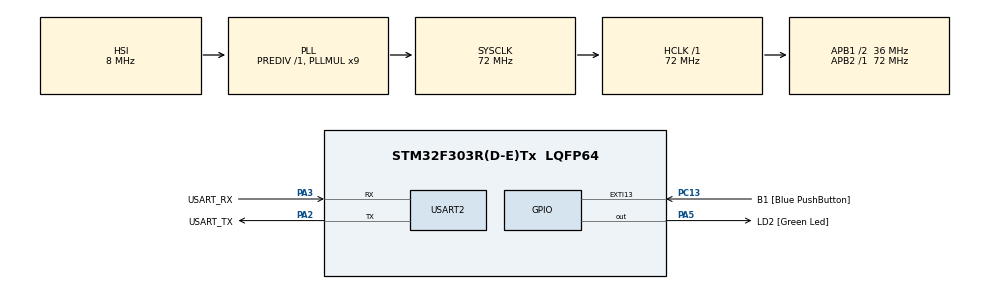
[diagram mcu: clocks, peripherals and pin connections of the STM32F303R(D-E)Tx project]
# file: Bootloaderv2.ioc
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Mcu.Family=STM32F3
Mcu.Name=STM32F303R(D-E)Tx
Mcu.Package=LQFP64
NVIC.PriorityGroup=NVIC_PRIORITYGROUP_0
NVIC.USART2_IRQn=true\:0\:0\:false\:false\:true\:true\:true\:true
PA13.GPIO_Label=TMS
PA13.Mode=Serial_Wire
PA13.Signal=SYS_JTMS-SWDIO
PA14.GPIO_Label=TCK
PA14.Mode=Serial_Wire
PA14.Signal=SYS_JTCK-SWCLK
PA2.GPIO_Label=USART_TX
PA2.GPIO_Mode=GPIO_MODE_AF_PP
PA2.GPIO_PuPd=GPIO_NOPULL
PA2.GPIO_Speed=GPIO_SPEED_FREQ_LOW
PA2.Mode=Asynchronous
PA2.Signal=USART2_TX
PA3.GPIO_Label=USART_RX
PA3.GPIO_Mode=GPIO_MODE_AF_PP
PA3.GPIO_PuPd=GPIO_NOPULL
PA3.GPIO_Speed=GPIO_SPEED_FREQ_LOW
PA3.Mode=Asynchronous
PA3.Signal=USART2_RX
PA5.GPIO_Label=LD2 [Green Led]
PA5.GPIO_Mode=GPIO_MODE_OUTPUT_PP
PA5.GPIO_PuPd=GPIO_NOPULL
PA5.GPIO_Speed=GPIO_SPEED_FREQ_LOW
PA5.Signal=GPIO_Output
PB3.GPIO_Label=SWO
PB3.Signal=SYS_JTDO-TRACESWO
PC13.GPIO_Label=B1 [Blue PushButton]
PC13.GPIO_ModeDefaultEXTI=GPIO_MODE_IT_FALLING
PC13.Signal=GPXTI13
PC14-OSC32_IN.Mode=LSE-External-Oscillator
PC14-OSC32_IN.Signal=RCC_OSC32_IN
PC15-OSC32_OUT.Mode=LSE-External-Oscillator
PC15-OSC32_OUT.Signal=RCC_OSC32_OUT
PF0-OSC_IN.Mode=HSE-External-Clock-Source
PF0-OSC_IN.Signal=RCC_OSC_IN
PF1-OSC_OUT.Signal=RCC_OSC_OUT
ProjectManager.HeapSize=0x200
ProjectManager.StackSize=0x400
ProjectManager.TargetToolchain=STM32CubeIDE
RCC.AHBFreq_Value=72000000
RCC.APB1CLKDivider=RCC_HCLK_DIV2
RCC.APB1Freq_Value=36000000
RCC.APB1TimFreq_Value=72000000
RCC.APB2Freq_Value=72000000
RCC.APB2TimFreq_Value=72000000
RCC.CortexFreq_Value=72000000
RCC.HCLKFreq_Value=72000000
RCC.HSE_VALUE=8000000
RCC.HSI_VALUE=8000000
RCC.PLLM=8
RCC.PLLMUL=RCC_PLL_MUL9
RCC.PLLN=336
RCC.PLLP=RCC_PLLP_DIV4
RCC.PLLQ=7
RCC.RCC_PLLsource_Clock_Source_FROM_HSE=RCC_HSE_PREDIV_DIV2
RCC.SYSCLKFreq_VALUE=72000000
RCC.SYSCLKSourceVirtual=RCC_SYSCLKSOURCE_PLLCLK
RCC.USBFreq_Value=72000000
USART2.VirtualMode-Asynchronous=VM_ASYNC
board=NUCLEO-F303RE

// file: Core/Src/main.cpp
/* USER CODE BEGIN Header */
/**
  ******************************************************************************
  * @file           : main.c
  * @brief          : Main program body
  ******************************************************************************
  * @attention
  *
  * Copyright (c) 2022 STMicroelectronics.
  * All rights reserved.
  *
  * This software is licensed under terms that can be found in the LICENSE file
  * in the root directory of this software component.
  * If no LICENSE file comes with this software, it is provided AS-IS.
  *
  ******************************************************************************
  */
#define _MODULE_ADDR 0x00
#define _LOOP_NR 0x01
/* USER CODE END Header */
#include "main.h"
#include "usart.h"
#include "gpio.h"

/* USER CODE BEGIN Includes */
#include "../../Mods/RS485_E/M485_E.h"
#include "../../Mods/Flash_SSD/MFlash.h"
/* USER CODE END Includes */

/* USER CODE BEGIN PTD */
//#define PAGE 253
/* USER CODE END PTD */

/* USER CODE BEGIN PV */
uint8_t mTXBuf[2];
uint8_t mRXBuf[2];
/* USER CODE END PV */

void SystemClock_Config(void);

/* USER CODE BEGIN 0 */
volatile int gIsToJump=0;
volatile uint32_t gJumpAddress=0;

#define APP_ADDRESS (uint32_t)0x08010000
typedef void (*pFunction)(void);

//Funkcja do przeskoczenia z bootloadera do aplikacji użytkownika
void JumpToAddress(uint32_t addr) {
    //uint32_t JumpAddress = *(uint32_t *) (addr + 0x0004); //Definitions for jump
    //pFunction Jump = (pFunction) JumpAddress; //Definitions for jump
	pFunction Jump = (pFunction) addr; //Definitions for jump

    HAL_RCC_DeInit(); //Peripherials deinitialization
    HAL_DeInit();
    SysTick->CTRL = 0;	//SysTick Reset
    SysTick->LOAD = 0;	//SysTick Reset
    SysTick->VAL = 0; 	//SysTick Reset

    /* Ustawić offset tablicy wektorów przerwań (SCB→VTOR). */
    SCB->VTOR = addr;
    /*Ustawić wskaźnik stosu (odczytany z tablicy przerwań
    z adresu 0x0000 [względnego do początku programu aplikacji
     użytkownika]).*/
    __set_MSP(*(uint32_t *) addr);

    Jump(); //Jump to begin of the program -> start_of_program + 0x0004
}

void JumpToApplication() {
    JumpToAddress(APP_ADDRESS);
}

//----------------------------------------------------------------------------
void HAL_UART_TxCpltCallback( UART_HandleTypeDef *huart ){
  //__disable_irq();
  if( huart == g485E.mhUart   )  g485E.onIT_TX();
  //if( huart == gST7580.mhUart )  gST7580.onIT_TX();
 // __enable_irq();
 }//----------------------------------------------------------------------------

//----------------------------------------------------------------------------
void HAL_UART_RxCpltCallback(UART_HandleTypeDef *huart ) {
 // __disable_irq();
	//HAL_UART_Receive_IT( &huart2, mRXBuf, 1 );
  if( huart == g485E.mhUart   )  g485E.onIT_RX();
  //if( huart == gST7580.mhUart )  gST7580.onIT_RX();
//  __enable_irq();
 }//----------------------------------------------------------------------------
/* USER CODE END 0 */

int main(void)
{

  /* MCU Configuration--------------------------------------------------------*/

  /* Reset of all peripherals, Initializes the Flash interface and the Systick. */
  HAL_Init();

  /* Configure the system clock */
  SystemClock_Config();

  /* Initialize all configured peripherals */
  MX_GPIO_Init();
  MX_USART2_UART_Init();
  /* USER CODE BEGIN 2 */
  g485E.init( &huart2 );
//  MFlash::unlock();
//  MFlash::erasePage(PAGE);
//  MFlash::lock();
  /* USER CODE END 2 */

  /* Infinite loop */
  /* USER CODE BEGIN WHILE */
  __enable_irq();
  mTXBuf[0]=6;
  mTXBuf[1]=6;
  //HAL_UART_Receive_IT( &huart2, mRXBuf, 1 );
  while (1)
  {
//	  if(HAL_GPIO_ReadPin (GPIOC, GPIO_PIN_13)==0){
	  if(gIsToJump!=0){
		  //JumpToApplication();
		  JumpToAddress(gJumpAddress);
	  }
	  //iPB = HAL_GPIO_ReadPin(GPIOC, GPIO_PIN_13);
	  //int a = 0;

//	  uint32_t address = MFlash::calcAddr(PAGE,0);
//	  uint16_t retPage = MFlash::calcPage(address,0);
//	  uint16_t var = MFlash::read16(PAGE,0);
//	  buttonVal = HAL_GPIO_ReadPin(GPIOC, GPIO_PIN_13);
//	  if( !buttonVal ){
//		  if(var == 0xFFFF){
//			  MFlash::unlock();
//			  MFlash::write16(PAGE,0,0xABCD);
//			  MFlash::lock();
//		  }
//	  }
	  //HAL_UART_Transmit_IT( &huart2, mTXBuf,  1 );

	  //HAL_UART_Transmit (&huart2, data, sizeof (data), 10);

//	  HAL_Delay(1000);
    /* USER CODE END WHILE */

  }
}

void SystemClock_Config(void)
{
  RCC_OscInitTypeDef RCC_OscInitStruct = {0};
  RCC_ClkInitTypeDef RCC_ClkInitStruct = {0};
  RCC_PeriphCLKInitTypeDef PeriphClkInit = {0};

  /** Initializes the RCC Oscillators according to the specified parameters
  * in the RCC_OscInitTypeDef structure.
  */
  RCC_OscInitStruct.OscillatorType = RCC_OSCILLATORTYPE_HSI;
  RCC_OscInitStruct.HSIState = RCC_HSI_ON;
  RCC_OscInitStruct.HSICalibrationValue = RCC_HSICALIBRATION_DEFAULT;
  RCC_OscInitStruct.PLL.PLLState = RCC_PLL_ON;
  RCC_OscInitStruct.PLL.PLLSource = RCC_PLLSOURCE_HSI;
  RCC_OscInitStruct.PLL.PLLMUL = RCC_PLL_MUL9;
  RCC_OscInitStruct.PLL.PREDIV = RCC_PREDIV_DIV1;
  if (HAL_RCC_OscConfig(&RCC_OscInitStruct) != HAL_OK)
  {
    Error_Handler();
  }

  /** Initializes the CPU, AHB and APB buses clocks
  */
  RCC_ClkInitStruct.ClockType = RCC_CLOCKTYPE_HCLK|RCC_CLOCKTYPE_SYSCLK
                              |RCC_CLOCKTYPE_PCLK1|RCC_CLOCKTYPE_PCLK2;
  RCC_ClkInitStruct.SYSCLKSource = RCC_SYSCLKSOURCE_PLLCLK;
  RCC_ClkInitStruct.AHBCLKDivider = RCC_SYSCLK_DIV1;
  RCC_ClkInitStruct.APB1CLKDivider = RCC_HCLK_DIV2;
  RCC_ClkInitStruct.APB2CLKDivider = RCC_HCLK_DIV1;

  if (HAL_RCC_ClockConfig(&RCC_ClkInitStruct, FLASH_LATENCY_2) != HAL_OK)
  {
    Error_Handler();
  }
  PeriphClkInit.PeriphClockSelection = RCC_PERIPHCLK_USART2;
  PeriphClkInit.Usart2ClockSelection = RCC_USART2CLKSOURCE_PCLK1;
  if (HAL_RCCEx_PeriphCLKConfig(&PeriphClkInit) != HAL_OK)
  {
    Error_Handler();
  }
}

/* USER CODE BEGIN 4 */
#include "../../Mods/RS485_E/M485_E_cpp.h"
#include "../../Mods/RS485_E/M485_E_cpp_RX.h"
#include "../../Mods/RS485_E/M485_E_cpp_TX.h"
/* USER CODE END 4 */

void Error_Handler(void)
{
  __disable_irq();
  while (1)
  {
  }
}
